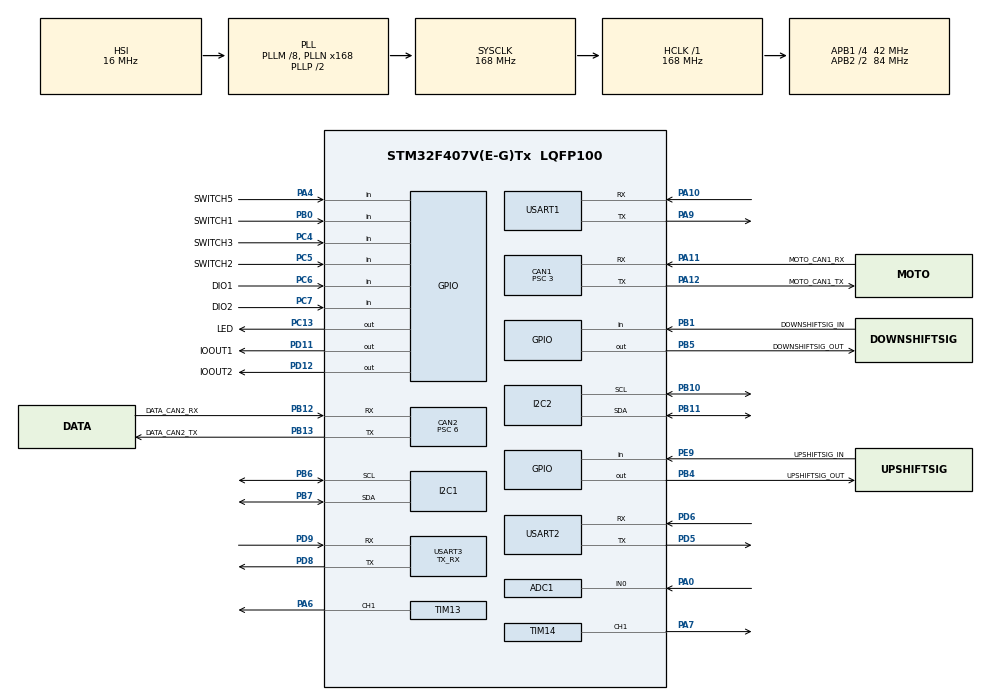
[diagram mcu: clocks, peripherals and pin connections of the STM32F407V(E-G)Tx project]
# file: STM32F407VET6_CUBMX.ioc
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ADC1.Channel-1\#ChannelRegularConversion=ADC_CHANNEL_0
ADC1.NbrOfConversionFlag=1
ADC1.Rank-1\#ChannelRegularConversion=1
ADC1.Resolution=ADC_RESOLUTION_10B
ADC1.SamplingTime-1\#ChannelRegularConversion=ADC_SAMPLETIME_3CYCLES
ADC1.master=1
CAN1.AWUM=ENABLE
CAN1.BS1=CAN_BS1_8TQ
CAN1.BS2=CAN_BS2_5TQ
CAN1.CalculateBaudRate=1000000
CAN1.CalculateTimeBit=1000
CAN1.CalculateTimeQuantum=71.42857142857143
CAN1.NART=ENABLE
CAN1.Prescaler=3
CAN1.RFLM=ENABLE
CAN2.AWUM=ENABLE
CAN2.BS1=CAN_BS1_8TQ
CAN2.BS2=CAN_BS2_5TQ
CAN2.CalculateBaudRate=500000
CAN2.CalculateTimeBit=2000
CAN2.CalculateTimeQuantum=142.85714285714286
CAN2.Mode=CAN_MODE_NORMAL
CAN2.NART=ENABLE
CAN2.Prescaler=6
CAN2.RFLM=ENABLE
Dma.Request0=USART1_RX
Dma.Request1=USART1_TX
Dma.Request2=USART2_TX
Dma.USART1_RX.0.Direction=DMA_PERIPH_TO_MEMORY
Dma.USART1_RX.0.FIFOMode=DMA_FIFOMODE_DISABLE
Dma.USART1_RX.0.Instance=DMA2_Stream2
Dma.USART1_RX.0.MemDataAlignment=DMA_MDATAALIGN_BYTE
Dma.USART1_RX.0.MemInc=DMA_MINC_ENABLE
Dma.USART1_RX.0.Mode=DMA_NORMAL
Dma.USART1_RX.0.PeriphDataAlignment=DMA_PDATAALIGN_BYTE
Dma.USART1_RX.0.PeriphInc=DMA_PINC_DISABLE
Dma.USART1_RX.0.Priority=DMA_PRIORITY_LOW
Dma.USART1_TX.1.Direction=DMA_MEMORY_TO_PERIPH
Dma.USART1_TX.1.FIFOMode=DMA_FIFOMODE_DISABLE
Dma.USART1_TX.1.Instance=DMA2_Stream7
Dma.USART1_TX.1.MemDataAlignment=DMA_MDATAALIGN_BYTE
Dma.USART1_TX.1.MemInc=DMA_MINC_ENABLE
Dma.USART1_TX.1.Mode=DMA_NORMAL
Dma.USART1_TX.1.PeriphDataAlignment=DMA_PDATAALIGN_BYTE
Dma.USART1_TX.1.PeriphInc=DMA_PINC_DISABLE
Dma.USART1_TX.1.Priority=DMA_PRIORITY_LOW
Dma.USART2_TX.2.Direction=DMA_MEMORY_TO_PERIPH
Dma.USART2_TX.2.FIFOMode=DMA_FIFOMODE_DISABLE
Dma.USART2_TX.2.Instance=DMA1_Stream6
Dma.USART2_TX.2.MemDataAlignment=DMA_MDATAALIGN_BYTE
Dma.USART2_TX.2.MemInc=DMA_MINC_ENABLE
Dma.USART2_TX.2.Mode=DMA_NORMAL
Dma.USART2_TX.2.PeriphDataAlignment=DMA_PDATAALIGN_BYTE
Dma.USART2_TX.2.PeriphInc=DMA_PINC_DISABLE
Dma.USART2_TX.2.Priority=DMA_PRIORITY_LOW
Mcu.Family=STM32F4
Mcu.Name=STM32F407V(E-G)Tx
Mcu.Package=LQFP100
NVIC.CAN1_RX0_IRQn=true\:0\:0\:false\:false\:true\:true\:true\:true
NVIC.CAN2_RX1_IRQn=true\:0\:0\:false\:false\:true\:true\:true\:true
NVIC.DMA1_Stream6_IRQn=true\:0\:0\:false\:false\:true\:false\:true\:true
NVIC.DMA2_Stream2_IRQn=true\:0\:0\:false\:false\:true\:false\:true\:true
NVIC.DMA2_Stream7_IRQn=true\:0\:0\:false\:false\:true\:false\:true\:true
NVIC.PriorityGroup=NVIC_PRIORITYGROUP_4
NVIC.TIM2_IRQn=true\:1\:0\:true\:false\:true\:true\:true\:true
PA0-WKUP.Signal=ADCx_IN0
PA10.Mode=Asynchronous
PA10.Signal=USART1_RX
PA11.GPIO_Label=MOTO_CAN1_RX
PA11.GPIO_PuPd=GPIO_NOPULL
PA11.Mode=CAN_Activate
PA11.Signal=CAN1_RX
PA12.GPIO_Label=MOTO_CAN1_TX
PA12.Mode=CAN_Activate
PA12.Signal=CAN1_TX
PA13.Mode=Serial_Wire
PA13.Signal=SYS_JTMS-SWDIO
PA14.Mode=Serial_Wire
PA14.Signal=SYS_JTCK-SWCLK
PA4.GPIO_Label=SWITCH5
PA4.GPIO_PuPd=GPIO_PULLDOWN
PA4.Signal=GPIO_Input
PA6.Signal=S_TIM13_CH1
PA7.Signal=S_TIM14_CH1
PA9.Mode=Asynchronous
PA9.Signal=USART1_TX
PB0.GPIO_Label=SWITCH1
PB0.GPIO_PuPd=GPIO_PULLDOWN
PB0.Signal=GPIO_Input
PB1.GPIO_Label=DOWNSHIFTSIG_IN
PB1.GPIO_PuPd=GPIO_PULLDOWN
PB1.Signal=GPIO_Input
PB10.Mode=I2C
PB10.Signal=I2C2_SCL
PB11.Mode=I2C
PB11.Signal=I2C2_SDA
PB12.GPIO_Label=DATA_CAN2_RX
PB12.GPIO_PuPd=GPIO_PULLUP
PB12.Mode=CAN_Activate
PB12.Signal=CAN2_RX
PB13.GPIO_Label=DATA_CAN2_TX
PB13.GPIO_PuPd=GPIO_PULLUP
PB13.Mode=CAN_Activate
PB13.Signal=CAN2_TX
PB4.GPIO_Label=UPSHIFTSIG_OUT
PB4.GPIO_PuPd=GPIO_PULLDOWN
PB4.Signal=GPIO_Output
PB5.GPIO_Label=DOWNSHIFTSIG_OUT
PB5.GPIO_PuPd=GPIO_PULLDOWN
PB5.Signal=GPIO_Output
PB6.Mode=I2C
PB6.Signal=I2C1_SCL
PB7.Mode=I2C
PB7.Signal=I2C1_SDA
PC13-ANTI_TAMP.GPIO_Label=LED
PC13-ANTI_TAMP.GPIO_PuPd=GPIO_PULLUP
PC13-ANTI_TAMP.Signal=GPIO_Output
PC14-OSC32_IN.Mode=LSE-External-Oscillator
PC14-OSC32_IN.Signal=RCC_OSC32_IN
PC15-OSC32_OUT.Mode=LSE-External-Oscillator
PC15-OSC32_OUT.Signal=RCC_OSC32_OUT
PC4.GPIO_Label=SWITCH3
PC4.GPIO_PuPd=GPIO_PULLDOWN
PC4.Signal=GPIO_Input
PC5.GPIO_Label=SWITCH2
PC5.GPIO_PuPd=GPIO_PULLDOWN
PC5.Signal=GPIO_Input
PC6.GPIO_Label=DIO1
PC6.Signal=GPIO_Input
PC7.GPIO_Label=DIO2
PC7.Signal=GPIO_Input
PD11.GPIO_Label=IOOUT1
PD11.GPIO_PuPd=GPIO_PULLDOWN
PD11.Signal=GPIO_Output
PD12.GPIO_Label=IOOUT2
PD12.GPIO_PuPd=GPIO_PULLDOWN
PD12.Signal=GPIO_Output
PD5.Mode=Asynchronous
PD5.Signal=USART2_TX
PD6.Mode=Asynchronous
PD6.Signal=USART2_RX
PD8.Mode=Asynchronous
PD8.Signal=USART3_TX
PD9.Mode=Asynchronous
PD9.Signal=USART3_RX
PE9.GPIO_Label=UPSHIFTSIG_IN
PE9.GPIO_PuPd=GPIO_PULLDOWN
PE9.Signal=GPIO_Input
PH0-OSC_IN.Mode=HSE-External-Oscillator
PH0-OSC_IN.Signal=RCC_OSC_IN
PH1-OSC_OUT.Mode=HSE-External-Oscillator
PH1-OSC_OUT.Signal=RCC_OSC_OUT
ProjectManager.HeapSize=0x200
ProjectManager.StackSize=0x400
ProjectManager.TargetToolchain=MDK-ARM V5.32
RCC.48MHZClocksFreq_Value=84000000
RCC.AHBFreq_Value=168000000
RCC.APB1CLKDivider=RCC_HCLK_DIV4
RCC.APB1Freq_Value=42000000
RCC.APB1TimFreq_Value=84000000
RCC.APB2CLKDivider=RCC_HCLK_DIV2
RCC.APB2Freq_Value=84000000
RCC.APB2TimFreq_Value=168000000
RCC.CortexFreq_Value=168000000
RCC.HCLKFreq_Value=168000000
RCC.HSE_VALUE=25000000
RCC.HSI_VALUE=16000000
RCC.PLLM=8
RCC.PLLN=168
RCC.SYSCLKFreq_VALUE=168000000
RCC.SYSCLKSource=RCC_SYSCLKSOURCE_PLLCLK
RCC.VCOOutputFreq_Value=336000000
SH.ADCx_IN0.0=ADC1_IN0,IN0
SH.S_TIM13_CH1.0=TIM13_CH1,PWM Generation1 CH1
SH.S_TIM14_CH1.0=TIM14_CH1,PWM Generation1 CH1
TIM13.Channel=TIM_CHANNEL_1
TIM14.Channel=TIM_CHANNEL_1
TIM2.AutoReloadPreload=TIM_AUTORELOAD_PRELOAD_DISABLE
TIM2.Period=500-1
TIM2.Prescaler=16800-1
USART1.VirtualMode=VM_ASYNC
USART2.VirtualMode=VM_ASYNC
USART3.Mode=MODE_TX_RX
USART3.VirtualMode=VM_ASYNC
VP_TIM13_VS_ClockSourceINT.Mode=Enable_Timer
VP_TIM14_VS_ClockSourceINT.Mode=Enable_Timer
VP_TIM1_VS_ClockSourceINT.Mode=Internal
VP_TIM1_VS_ClockSourceITR.Mode=TriggerSource_ITR0
VP_TIM1_VS_ControllerModeTrigger.Mode=Trigger Mode
VP_TIM2_VS_ClockSourceINT.Mode=Internal
board=custom

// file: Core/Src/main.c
/* USER CODE BEGIN Header */
/**
  ******************************************************************************
  * @file           : main.c
  * @brief          : Main program body
  ******************************************************************************
  * @attention
  *
  * Copyright (c) 2025 STMicroelectronics.
  * All rights reserved.
  *
  * This software is licensed under terms that can be found in the LICENSE file
  * in the root directory of this software component.
  * If no LICENSE file comes with this software, it is provided AS-IS.
  *
  ******************************************************************************
  */
/* USER CODE END Header */
#include "main.h"
#include "adc.h"
#include "can.h"
#include "dma.h"
#include "i2c.h"
#include "tim.h"
#include "usart.h"
#include "gpio.h"

/* USER CODE BEGIN Includes */
#include "headfile.h"    //头文
#include "SA_E_shift.h"    //头文

/* USER CODE END Includes */

/* USER CODE BEGIN PTD */
#define overtime_tick_max 65534
/* USER CODE END PTD */

void SystemClock_Config(void);

/* USER CODE BEGIN 0 */
uint16_t overtime_tick;
uint8_t key_num;

/* USER CODE END 0 */

int main(void)
{

  /* MCU Configuration--------------------------------------------------------*/

  /* Reset of all peripherals, Initializes the Flash interface and the Systick. */
  HAL_Init();

  /* Configure the system clock */
  SystemClock_Config();

  /* USER CODE BEGIN SysInit */
    HAL_Delay(2000); //上电后延时2s，等待电平稳定后再初始化单片机
  /* USER CODE END SysInit */

  /* Initialize all configured peripherals */
  MX_GPIO_Init();
  MX_DMA_Init();
  MX_TIM1_Init();
  MX_ADC1_Init();
  MX_CAN1_Init();
  MX_CAN2_Init();
  MX_I2C1_Init();
  MX_I2C2_Init();
  MX_TIM13_Init();
  MX_TIM14_Init();
  MX_USART1_UART_Init();
  MX_USART2_UART_Init();
  MX_USART3_UART_Init();
  MX_TIM2_Init();
  /* USER CODE BEGIN 2 */
    Motor_Init();
    HAL_TIM_Base_Start_IT(&htim2);//定时器20ms中断开启
  /* USER CODE END 2 */

  /* Infinite loop */
  /* USER CODE BEGIN WHILE */
  while (1)
  {
      Radio_Data_Send(&Clutch_Cyber,&Shift_Cyber,&ECUDATA,Real_Gear,1);//电台发送数据
      CANtest(&Clutch_Cyber,&Shift_Cyber);//基础串口调试代码
      Set_Cyber_Pos(&Clutch_Cyber,0) ;  //设置电机归0
      Set_Cyber_Pos(&Shift_Cyber,0) ; //设置电机默认位置 （根据档位传感器的值决定默认位置 单位度数）
      key_num=get_key_num();   //按键读取（硬件消抖）
      if (key_num==4) {Stop_Cyber(&Clutch_Cyber, 1);Stop_Cyber(&Shift_Cyber, 1);}  //停止电机
      if (key_num==3) {Start_Cyber(&Clutch_Cyber);Start_Cyber(&Shift_Cyber);}  //开启电机
      if (key_num==1) //upshiftsign
            {
                EShift_move(1,&ECUDATA);  //升档操作
            }
      if (key_num==2)
            {
                EShift_move(0,&ECUDATA);  //降档操作
            }

            HAL_GPIO_WritePin((GPIO_TypeDef *)LED_GPIO_Port, (uint16_t)LED_Pin, (GPIO_PinState)0);  //主循环工作指示灯
    //UPSHIFT_flag(1);
    /* USER CODE END WHILE */

  }
}

void SystemClock_Config(void)
{
  RCC_OscInitTypeDef RCC_OscInitStruct = {0};
  RCC_ClkInitTypeDef RCC_ClkInitStruct = {0};

  /** Configure the main internal regulator output voltage
  */
  __HAL_RCC_PWR_CLK_ENABLE();
  __HAL_PWR_VOLTAGESCALING_CONFIG(PWR_REGULATOR_VOLTAGE_SCALE1);

  /** Initializes the RCC Oscillators according to the specified parameters
  * in the RCC_OscInitTypeDef structure.
  */
  RCC_OscInitStruct.OscillatorType = RCC_OSCILLATORTYPE_HSI;
  RCC_OscInitStruct.HSIState = RCC_HSI_ON;
  RCC_OscInitStruct.HSICalibrationValue = RCC_HSICALIBRATION_DEFAULT;
  RCC_OscInitStruct.PLL.PLLState = RCC_PLL_ON;
  RCC_OscInitStruct.PLL.PLLSource = RCC_PLLSOURCE_HSI;
  RCC_OscInitStruct.PLL.PLLM = 8;
  RCC_OscInitStruct.PLL.PLLN = 168;
  RCC_OscInitStruct.PLL.PLLP = RCC_PLLP_DIV2;
  RCC_OscInitStruct.PLL.PLLQ = 4;
  if (HAL_RCC_OscConfig(&RCC_OscInitStruct) != HAL_OK)
  {
    Error_Handler();
  }

  /** Initializes the CPU, AHB and APB buses clocks
  */
  RCC_ClkInitStruct.ClockType = RCC_CLOCKTYPE_HCLK|RCC_CLOCKTYPE_SYSCLK
                              |RCC_CLOCKTYPE_PCLK1|RCC_CLOCKTYPE_PCLK2;
  RCC_ClkInitStruct.SYSCLKSource = RCC_SYSCLKSOURCE_PLLCLK;
  RCC_ClkInitStruct.AHBCLKDivider = RCC_SYSCLK_DIV1;
  RCC_ClkInitStruct.APB1CLKDivider = RCC_HCLK_DIV4;
  RCC_ClkInitStruct.APB2CLKDivider = RCC_HCLK_DIV2;

  if (HAL_RCC_ClockConfig(&RCC_ClkInitStruct, FLASH_LATENCY_5) != HAL_OK)
  {
    Error_Handler();
  }
}

/* USER CODE BEGIN 4 */
void HAL_TIM_PeriodElapsedCallback(TIM_HandleTypeDef *htim){
    if(htim == &htim2)  //判断中断是否来自于定时器2
   {
       overtime_tick++;
       if (overtime_tick > overtime_tick_max) overtime_tick=0;  //超时判断定时器中断
   }
//   if(htim==&htim6){
//   //Real_Gear=stabilize_gear(&ECUDATA);
//   }
}

//单片机测试代码
//    HAL_GPIO_WritePin((GPIO_TypeDef *)LED1_GPIO_Port, (uint16_t)LED1_Pin, (GPIO_PinState)0);
//    HAL_Delay(200);
//    HAL_GPIO_WritePin((GPIO_TypeDef *)LED1_GPIO_Port, (uint16_t)LED1_Pin, (GPIO_PinState)1);
//    HAL_Delay(200);
//    printf("samples: %d \n",a );
//    a++;
/* USER CODE END 4 */

void Error_Handler(void)
{
  __disable_irq();
  while (1)
  {
  }
}
